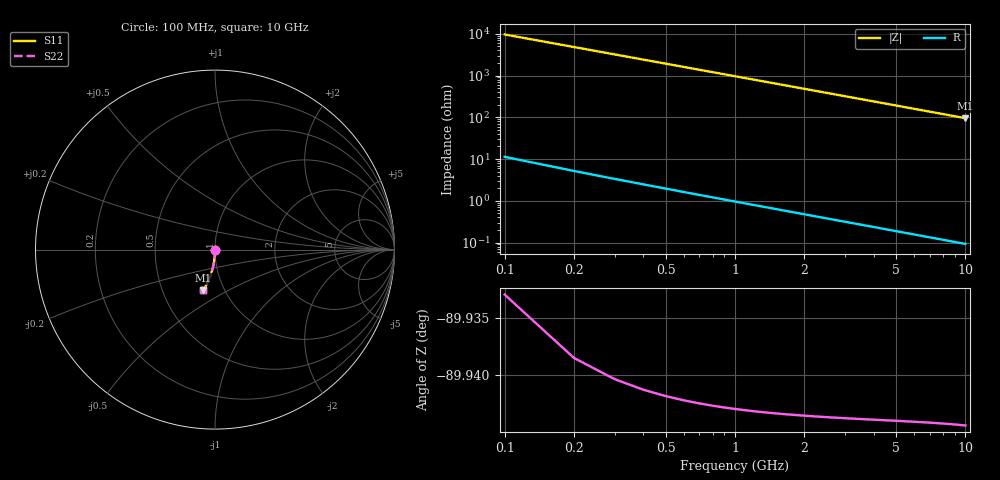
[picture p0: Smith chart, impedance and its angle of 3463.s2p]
# Hz S RI R 50.00
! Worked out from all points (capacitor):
!   100 points, 100 MHz to 10 GHz, reference 50 ohm
!   read as one part in shunt: C = 165 fF near 100 MHz
!   lowest |Z| = 95.4 ohm at 10 GHz (marker M1)
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1e8  3.57e-05 -0.00239  0.9999 -0.00279  0.9999 -0.00279  3.57e-05 -0.00239
2e8  1.35e-05 -0.00478  0.9999 -0.00558  0.9999 -0.00558  1.35e-05 -0.00478
3e8  -2.22e-05 -0.00717  0.9999 -0.00837  0.9999 -0.00837  -2.22e-05 -0.00717
4e8  -7.12e-05 -0.00955  0.9998 -0.0112  0.9998 -0.0112  -7.12e-05 -0.00955
5e8  -0.000134 -0.0119  0.9998 -0.014  0.9998 -0.014  -0.000134 -0.0119
6e8  -0.000209 -0.0143  0.9997 -0.0167  0.9997 -0.0167  -0.000209 -0.0143
7e8  -0.000298 -0.0167  0.9996 -0.0195  0.9996 -0.0195  -0.000298 -0.0167
8e8  -0.000401 -0.0191  0.9995 -0.0223  0.9995 -0.0223  -0.000401 -0.0191
9e8  -0.000517 -0.0215  0.9994 -0.0251  0.9994 -0.0251  -0.000517 -0.0215
1.1e9  -0.000788 -0.0263  0.9991 -0.0307  0.9991 -0.0307  -0.000788 -0.0263
1.4e9  -0.0013 -0.0334  0.9986 -0.0391  0.9986 -0.0391  -0.0013 -0.0334
1.8e9  -0.00216 -0.043  0.9977 -0.0502  0.9977 -0.0502  -0.00216 -0.043
2.1e9  -0.00295 -0.0501  0.9969 -0.0586  0.9969 -0.0586  -0.00295 -0.0501
2.5e9  -0.00419 -0.0596  0.9957 -0.0697  0.9957 -0.0697  -0.00419 -0.0596
2.9e9  -0.00564 -0.0691  0.9942 -0.0808  0.9942 -0.0808  -0.00564 -0.0691
3.4e9  -0.00776 -0.0809  0.9921 -0.0946  0.9921 -0.0946  -0.00776 -0.0809
4.2e9  -0.0118 -0.0997  0.9879 -0.1166  0.9879 -0.1166  -0.0118 -0.0997
5.1e9  -0.0174 -0.1205  0.9823 -0.1411  0.9823 -0.1411  -0.0174 -0.1205
5.9e9  -0.0232 -0.1387  0.9764 -0.1626  0.9764 -0.1626  -0.0232 -0.1387
6.7e9  -0.0298 -0.1566  0.9697 -0.1838  0.9697 -0.1838  -0.0298 -0.1566
8.4e9  -0.0463 -0.1932  0.953 -0.2276  0.953 -0.2276  -0.0463 -0.1932
1e10  -0.0647 -0.2257  0.9344 -0.2668  0.9344 -0.2668  -0.0647 -0.2257
